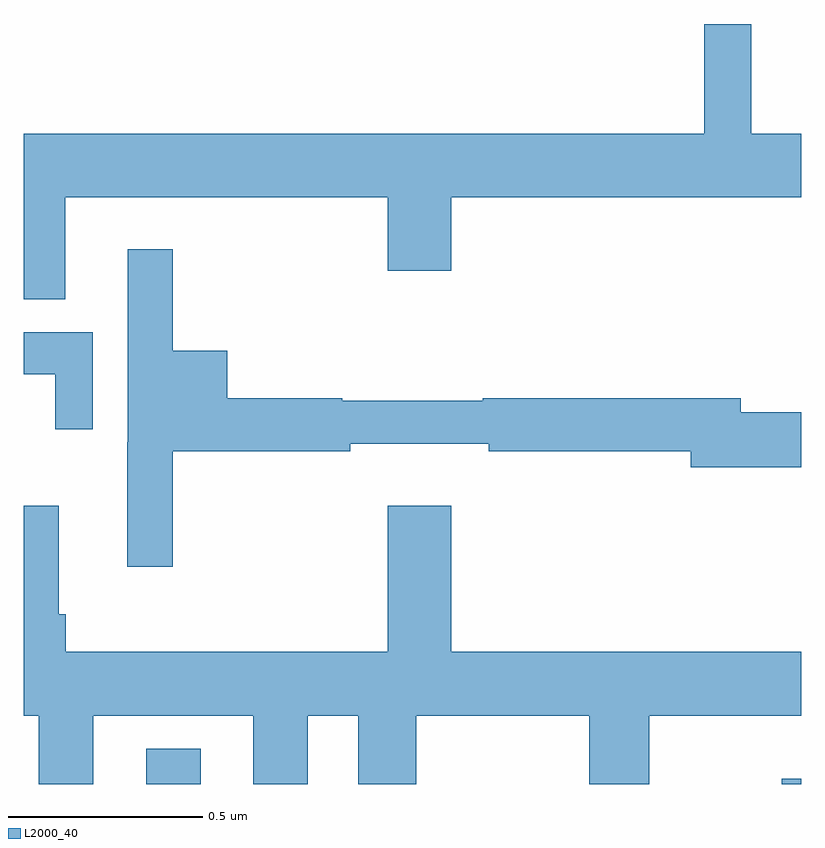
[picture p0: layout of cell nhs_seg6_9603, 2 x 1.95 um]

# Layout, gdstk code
import gdstk
lib = gdstk.Library(unit=1e-6, precision=1e-09)
def R(c, l, rs):  # rectangles x0, y0, x1, y1
    for r in rs: c.add(gdstk.rectangle(r[:2], r[2:], *l))
def P(c, l, *ps):  # polygons
    for p in ps: c.add(gdstk.Polygon(p, *l))
L2000_40 = (2000, 40)

nhs_seg6_9603 = lib.new_cell('nhs_seg6_9603')
R(nhs_seg6_9603, L2000_40, [(236.315,940.5,236.455,940.591), (237.949,940.5,238,940.513)])
P(nhs_seg6_9603, L2000_40, [(236.107,942.008),(236.936,942.008),(236.936,941.82),(237.1,941.82),(237.1,942.008),(238,942.008),(238,942.172),(237.871,942.172),(237.871,942.454),(237.75,942.454),(237.75,942.172),(236,942.172),(236,941.746),(236.107,941.746)],
  [(236.384,941.356),(236.84,941.356),(236.84,941.375),(237.196,941.375),(237.196,941.356),(237.716,941.356),(237.716,941.314),(238,941.314),(238,941.456),(237.844,941.456),(237.844,941.492),(237.18,941.492),(237.18,941.485),(236.82,941.485),(236.82,941.492),(236.524,941.492),(236.524,941.614),(236.384,941.614),(236.384,941.875),(236.268,941.875),(236.268,941.379),(236.267,941.379),(236.267,941.058),(236.384,941.058)],
  [(236.178,941.661),(236,941.661),(236,941.553),(236.081,941.553),(236.081,941.412),(236.178,941.412)],
  [(236.179,940.676),(236.591,940.676),(236.591,940.5),(236.731,940.5),(236.731,940.676),(236.861,940.676),(236.861,940.5),(237.009,940.5),(237.009,940.676),(237.454,940.676),(237.454,940.5),(237.609,940.5),(237.609,940.676),(238,940.676),(238,940.84),(237.1,940.84),(237.1,941.215),(236.936,941.215),(236.936,940.84),(236.108,940.84),(236.108,940.936),(236.09,940.936),(236.09,941.215),(236,941.215),(236,940.676),(236.039,940.676),(236.039,940.5),(236.179,940.5)])

lib.write_gds('nhs_seg6_9603.gds')
